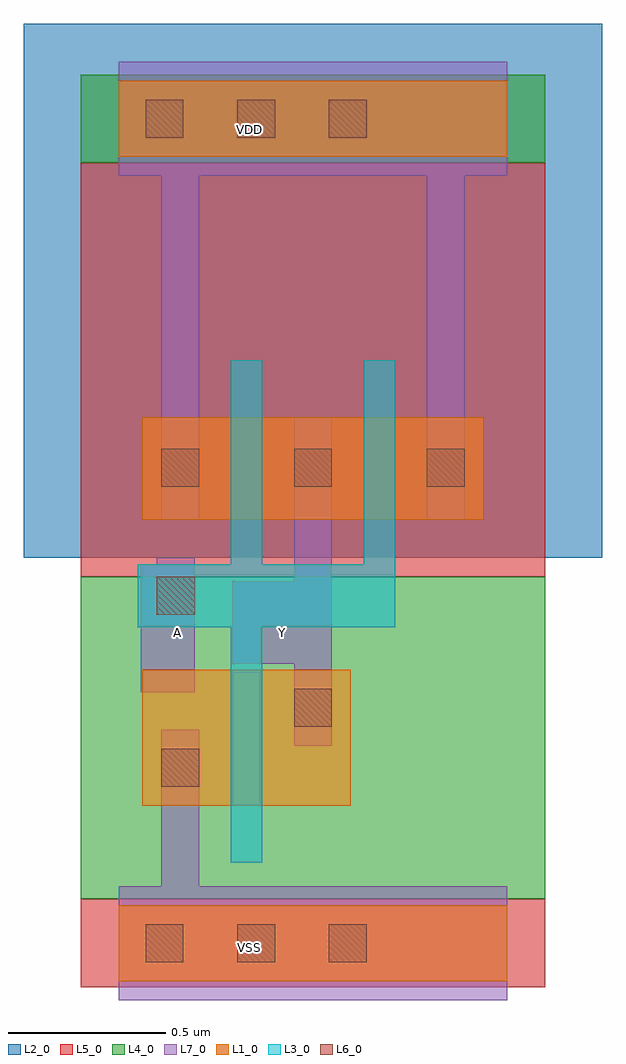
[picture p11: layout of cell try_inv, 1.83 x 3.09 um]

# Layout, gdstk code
import gdstk
lib = gdstk.Library(unit=1e-6, precision=1e-09)
def R(c, l, rs):  # rectangles x0, y0, x1, y1
    for r in rs: c.add(gdstk.rectangle(r[:2], r[2:], *l))
def A(c, l, x, y, w, h, nx, ny, dx, dy):  # array of equal rectangles
    R(c, l, [(x+i*dx, y+j*dy, x+i*dx+w, y+j*dy+h) for i in range(nx) for j in range(ny)])
L1_0 = (1, 0)
L2_0 = (2, 0)
L3_0 = (3, 0)
L4_0 = (4, 0)
L5_0 = (5, 0)
L6_0 = (6, 0)
L7_0 = (7, 0)

try_inv = lib.new_cell('try_inv')
R(try_inv, L1_0, [(-0.34,-0.24,0.89,0), (-0.265,0.315,0.395,0.745), (-0.265,1.22,0.395,1.545), (0.155,1.22,0.815,1.545), (-0.34,2.37,0.89,2.61)])
R(try_inv, L2_0, [(-0.64,1.1,1.19,2.79)])
R(try_inv, L3_0, [(0.015,0.135,0.115,0.88), (-0.28,0.88,0.535,1.08), (0.435,0.88,0.535,1.725), (0.015,1.08,0.115,1.725)])
R(try_inv, L4_0, [(-0.46,0.02,1.01,1.04), (-0.46,2.35,1.01,2.63)])
R(try_inv, L5_0, [(-0.46,-0.26,1.01,0.02), (-0.46,1.04,1.01,2.35)])
A(try_inv, L6_0, -0.255, -0.18, 0.12, 0.12, 3, 2, 0.29, 2.61)
A(try_inv, L6_0, -0.205, 1.325, 0.12, 0.12, 3, 1, 0.42, 0)
R(try_inv, L6_0, [(-0.205,0.375,-0.085,0.495), (0.215,0.565,0.335,0.685), (-0.22,0.92,-0.1,1.04)])
R(try_inv, L7_0, [(-0.34,-0.3,0.89,0.06), (-0.205,0.06,-0.085,0.555), (0.215,0.505,0.335,0.765), (-0.27,0.675,-0.1,1.08), (0.02,0.765,0.335,1.025), (0.215,1.025,0.335,1.545), (-0.22,1.08,-0.1,1.1), (0.215,1.16,0.335,1.545), (-0.205,1.22,-0.085,2.33), (0.635,1.22,0.755,2.315), (-0.34,2.31,0.89,2.67)])
try_inv.add(gdstk.Label('Y', (0.18,0.865), layer=7, texttype=251))
try_inv.add(gdstk.Label('A', (-0.155,0.865), layer=7, texttype=251))
try_inv.add(gdstk.Label('VSS', (0.075,-0.135), layer=7, texttype=251))
try_inv.add(gdstk.Label('VDD', (0.075,2.455), layer=7, texttype=251))

lib.write_gds('try_inv.gds')
